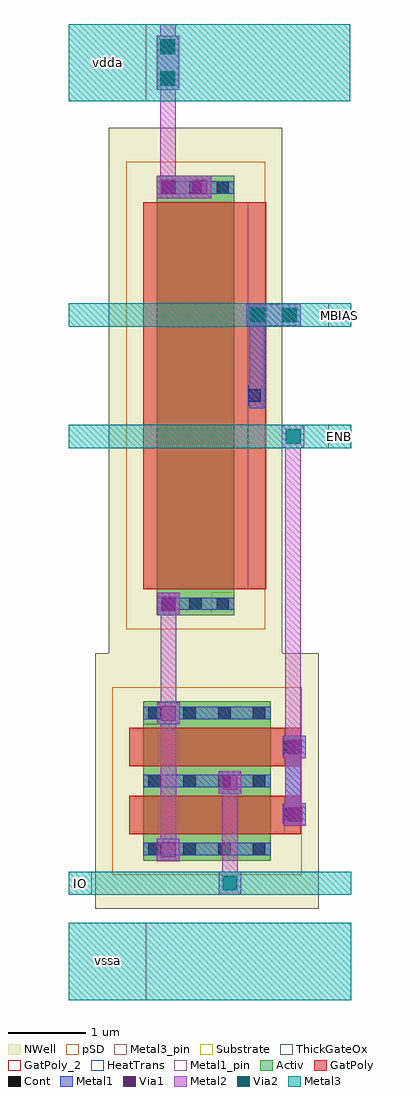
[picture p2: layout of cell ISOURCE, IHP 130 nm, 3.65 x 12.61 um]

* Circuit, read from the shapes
.subckt ISOURCE ENB IO MBIAS vdda vssa
XM1 IO ENB n1 n2 sg13_hv_pmos w=1.65u l=0.5u m=2
XM2 vdda MBIAS n1 n2 sg13_hv_pmos w=1u l=5u
.ends

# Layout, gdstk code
from math import pi, radians
import gdstk
lib = gdstk.Library(unit=1e-6, precision=1e-09)
def R(c, l, rs):  # rectangles x0, y0, x1, y1
    for r in rs: c.add(gdstk.rectangle(r[:2], r[2:], *l))
def A(c, l, x, y, w, h, nx, ny, dx, dy):  # array of equal rectangles
    R(c, l, [(x+i*dx, y+j*dy, x+i*dx+w, y+j*dy+h) for i in range(nx) for j in range(ny)])
Activ = (1, 0)
GatPoly = (5, 0)
GatPoly_2 = (5, 2)
Cont = (6, 0)
Metal1 = (8, 0)
Metal1_pin = (8, 2)
Metal2 = (10, 0)
pSD = (14, 0)
Via1 = (19, 0)
Via2 = (29, 0)
Metal3 = (30, 0)
Metal3_pin = (30, 2)
NWell = (31, 0)
Substrate = (40, 0)
ThickGateOx = (44, 0)
HeatTrans = (51, 0)

pmoshv = lib.new_cell('pmosHV')
R(pmoshv, Activ, [(0,0,0.3,0.3), (0,0,5.68,1), (5.38,0,5.68,0.3)])
R(pmoshv, GatPoly, [(0.34,-0.18,5.34,1.18)])
R(pmoshv, GatPoly_2, [(0.34,-0.18,5.34,1.18)])
A(pmoshv, Cont, 0.07, 0.07, 0.16, 0.16, 1, 3, 0, 0.35)
A(pmoshv, Cont, 5.45, 0.07, 0.16, 0.16, 1, 3, 0, 0.35)
R(pmoshv, Metal1, [(0.07,0,0.23,1), (5.45,0,5.61,1)])
R(pmoshv, Metal1_pin, [(0.07,0,0.23,1), (5.45,0,5.61,1)])
R(pmoshv, pSD, [(-0.18,-0.4,5.86,1.4)])
R(pmoshv, NWell, [(-0.62,-0.62,6.3,1.62)])
R(pmoshv, Substrate, [(5.38,0,5.68,0.3)])
R(pmoshv, ThickGateOx, [(-0.62,-0.62,6.3,1.62)])
R(pmoshv, HeatTrans, [(0.34,-0.18,5.34,1.18)])
pmoshv.add(gdstk.Label('pmosHV', (2.84,0.5), layer=63, texttype=0))
pmoshv.add(gdstk.Label('pmos', (2.84,0.5), layer=51, texttype=0))

pmoshv_1 = lib.new_cell('pmosHV$1')
A(pmoshv_1, Activ, 0, 0, 0.3, 0.3, 3, 1, 0.88, 0)
R(pmoshv_1, Activ, [(0,0,2.06,1.65)])
R(pmoshv_1, GatPoly, [(0.34,-0.18,0.84,1.83), (1.22,-0.18,1.72,1.83)])
R(pmoshv_1, GatPoly_2, [(0.34,-0.18,0.84,1.83)])
A(pmoshv_1, Cont, 0.07, 0.07, 0.16, 0.16, 3, 4, 0.88, 0.45)
A(pmoshv_1, Metal1, 0.07, 0, 0.16, 1.65, 3, 1, 0.88, 0)
R(pmoshv_1, Metal1_pin, [(0.07,0,0.23,1.65), (0.95,0,1.11,1.65)])
R(pmoshv_1, pSD, [(-0.18,-0.4,2.24,2.05)])
R(pmoshv_1, NWell, [(-0.62,-0.62,2.68,2.27)])
R(pmoshv_1, Substrate, [(1.76,0,2.06,0.3)])
R(pmoshv_1, ThickGateOx, [(-0.62,-0.62,2.68,2.27)])
R(pmoshv_1, HeatTrans, [(0.34,-0.18,0.84,1.83), (1.22,-0.18,1.72,1.83)])
pmoshv_1.add(gdstk.Label('pmosHV', (0.59,0.825), layer=63, texttype=0))
pmoshv_1.add(gdstk.Label('pmos', (0.59,0.825), layer=51, texttype=0))
pmoshv_1.add(gdstk.Label('pmos', (1.47,0.825), layer=51, texttype=0))

viagpcont_m1_1 = lib.new_cell('ViaGPCont_M1$1')
R(viagpcont_m1_1, GatPoly, [(-0.15,-0.15,0.15,0.15), (-0.15,-0.15,0.15,0.15)])
R(viagpcont_m1_1, Cont, [(-0.08,-0.08,0.08,0.08)])
R(viagpcont_m1_1, Metal1, [(-0.13,-0.08,0.13,0.08)])

via_stack_22 = lib.new_cell('via_stack$22')
R(via_stack_22, Metal1, [(-0.145,-0.35,0.145,0.35)])
R(via_stack_22, Metal2, [(-0.145,-0.35,0.145,0.35)])
R(via_stack_22, Via1, [(-0.095,-0.3,0.095,-0.11), (-0.095,0.11,0.095,0.3)])

via_stack_3_1_1 = lib.new_cell('via_stack$3$1$1')
R(via_stack_3_1_1, Metal1, [(-0.35,-0.145,0.35,0.145)])
R(via_stack_3_1_1, Metal2, [(-0.35,-0.145,0.35,0.145)])
R(via_stack_3_1_1, Via1, [(-0.3,-0.095,-0.11,0.095), (0.11,-0.095,0.3,0.095)])
R(via_stack_3_1_1, Via2, [(-0.3,-0.095,-0.11,0.095), (0.11,-0.095,0.3,0.095)])
R(via_stack_3_1_1, Metal3, [(-0.35,-0.145,0.35,0.145)])

via_stack_4_1 = lib.new_cell('via_stack$4$1')
R(via_stack_4_1, Metal1, [(-0.145,-0.35,0.145,0.35)])
R(via_stack_4_1, Metal2, [(-0.145,-0.35,0.145,0.35)])
R(via_stack_4_1, Via1, [(-0.095,-0.3,0.095,-0.11), (-0.095,0.11,0.095,0.3)])
R(via_stack_4_1, Via2, [(-0.095,-0.3,0.095,-0.11), (-0.095,0.11,0.095,0.3)])
R(via_stack_4_1, Metal3, [(-0.145,-0.35,0.145,0.35)])

via_stack_3 = lib.new_cell('via_stack$3')
R(via_stack_3, Metal2, [(-0.145,-0.145,0.145,0.145)])
R(via_stack_3, Via2, [(-0.095,-0.095,0.095,0.095)])
R(via_stack_3, Metal3, [(-0.145,-0.145,0.145,0.145)])

via_stack_22_1 = lib.new_cell('via_stack$22$1')
R(via_stack_22_1, Metal1, [(-0.145,-0.145,0.145,0.145)])
R(via_stack_22_1, Metal2, [(-0.145,-0.145,0.145,0.145)])
R(via_stack_22_1, Via1, [(-0.095,-0.095,0.095,0.095)])

isource = lib.new_cell('ISOURCE')
R(isource, Metal3_pin, [(0,0,1,1), (0,1.36,0.3,1.66), (3.35,7.13,3.65,7.43), (3.35,8.7,3.65,9), (0,11.61,1,12.61)])
isource.add(gdstk.FlexPath([(1.28,10.36),(1.28,12.61)], 0.2, ends="flush", simple_path=True, layer=10, datatype=0))  # Metal2
isource.add(gdstk.FlexPath([(2.9,2.275),(2.9,7.43)], 0.2, ends="flush", simple_path=True, layer=10, datatype=0))  # Metal2
isource.add(gdstk.FlexPath([(1.29,5.26),(1.29,1.795)], 0.2, ends="flush", simple_path=True, layer=10, datatype=0))  # Metal2
isource.add(gdstk.FlexPath([(2.085,2.955),(2.085,1.36)], 0.2, ends="flush", simple_path=True, layer=10, datatype=0))  # Metal2
isource.add(gdstk.FlexPath([(0,0.5),(3.65,0.5)], 1, ends="flush", simple_path=True, layer=30, datatype=0))  # Metal3
isource.add(gdstk.FlexPath([(0,12.11),(3.64,12.11)], 1, ends="flush", simple_path=True, layer=30, datatype=0))  # Metal3
isource.add(gdstk.FlexPath([(0,1.51),(3.65,1.51)], 0.3, ends="flush", simple_path=True, layer=30, datatype=0))  # Metal3
isource.add(gdstk.FlexPath([(3.65,7.28),(0,7.28)], 0.3, ends="flush", simple_path=True, layer=30, datatype=0))  # Metal3
isource.add(gdstk.FlexPath([(3.65,8.85),(0,8.85)], 0.3, ends="flush", simple_path=True, layer=30, datatype=0))  # Metal3
isource.add(gdstk.FlexPath([(2.61,2.39),(2.995,2.39)], 0.5, ends="flush", simple_path=True, layer=5, datatype=0))  # GatPoly
isource.add(gdstk.FlexPath([(2.695,3.27),(2.995,3.27)], 0.5, ends="flush", simple_path=True, layer=5, datatype=0))  # GatPoly
isource.add(gdstk.FlexPath([(2.23,7.81),(2.55,7.81)], 5, ends="flush", simple_path=True, layer=5, datatype=0))  # GatPoly
isource.add(gdstk.FlexPath([(2.43,7.645),(2.43,8.966)], 0.2, ends="flush", simple_path=True, layer=8, datatype=0))  # Metal1
isource.add(gdstk.FlexPath([(2.9,2.275),(2.9,3.4)], 0.2, ends="flush", simple_path=True, layer=8, datatype=0))  # Metal1
isource.add(gdstk.Reference(pmoshv, (2.14,10.65), rotation=3*pi/2, x_reflection=True))
isource.add(gdstk.Reference(pmoshv_1, (0.96,1.8), rotation=pi/2, x_reflection=True))
r = gdstk.Reference(viagpcont_m1_1, (2.845,2.405), rotation=pi/2); r.repetition = gdstk.Repetition(1, 1, v1=(0,0), v2=(0,0)); isource.add(r)
r = gdstk.Reference(viagpcont_m1_1, (2.845,3.27), rotation=pi/2); r.repetition = gdstk.Repetition(1, 1, v1=(0,0), v2=(0,0)); isource.add(r)
r = gdstk.Reference(viagpcont_m1_1, (2.4,7.81), rotation=pi/2); r.repetition = gdstk.Repetition(1, 1, v1=(0,0), v2=(0,0)); isource.add(r)
r = gdstk.Reference(via_stack_22, (1.49,10.505), rotation=pi/2); r.repetition = gdstk.Repetition(1, 1, v1=(0,0), v2=(0,0)); isource.add(r)
r = gdstk.Reference(via_stack_3_1_1, (1.28,12.11), rotation=pi/2); r.repetition = gdstk.Repetition(1, 1, v1=(0,0), v2=(0,0)); isource.add(r)
r = gdstk.Reference(via_stack_4_1, (2.645,8.85), rotation=pi/2); r.repetition = gdstk.Repetition(1, 1, v1=(0,0), v2=(0,0)); isource.add(r)
r = gdstk.Reference(via_stack_3, (2.9,7.28), rotation=pi/2); r.repetition = gdstk.Repetition(1, 1, v1=(0,0), v2=(0,0)); isource.add(r)
r = gdstk.Reference(via_stack_22_1, (1.29,5.115), rotation=pi/2); r.repetition = gdstk.Repetition(1, 1, v1=(0,0), v2=(0,0)); isource.add(r)
r = gdstk.Reference(via_stack_22_1, (1.29,3.705), rotation=pi/2); r.repetition = gdstk.Repetition(1, 1, v1=(0,0), v2=(0,0)); isource.add(r)
r = gdstk.Reference(via_stack_22_1, (1.285,1.94), rotation=pi/2); r.repetition = gdstk.Repetition(1, 1, v1=(0,0), v2=(0,0)); isource.add(r)
r = gdstk.Reference(via_stack_22_1, (2.085,2.81), rotation=pi/2); r.repetition = gdstk.Repetition(1, 1, v1=(0,0), v2=(0,0)); isource.add(r)
r = gdstk.Reference(via_stack_3, (2.085,1.51), rotation=pi/2); r.repetition = gdstk.Repetition(1, 1, v1=(0,0), v2=(0,0)); isource.add(r)
r = gdstk.Reference(via_stack_22_1, (2.92,2.395)); r.repetition = gdstk.Repetition(1, 1, v1=(0,0), v2=(0,0)); isource.add(r)
r = gdstk.Reference(via_stack_22_1, (2.915,3.27)); r.repetition = gdstk.Repetition(1, 1, v1=(0,0), v2=(0,0)); isource.add(r)
isource.add(gdstk.Label('vdda', (0.5,12.11), layer=30, texttype=25))
isource.add(gdstk.Label('vssa', (0.5,0.51), layer=30, texttype=25))
isource.add(gdstk.Label('IO', (0.15,1.51), layer=30, texttype=25))
isource.add(gdstk.Label('ENB', (3.5,7.28), layer=30, texttype=25))
isource.add(gdstk.Label('MBIAS', (3.5,8.85), layer=30, texttype=25))

lib.write_gds('ISOURCE.gds')
